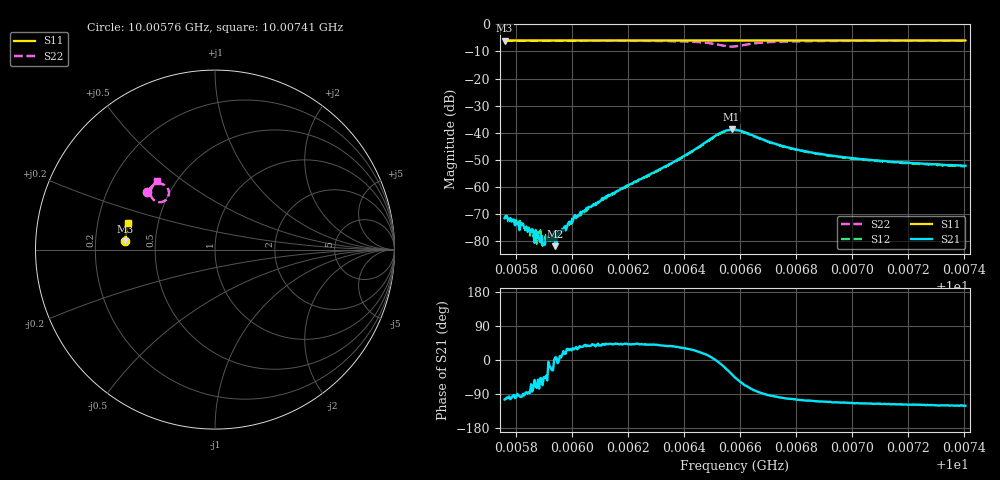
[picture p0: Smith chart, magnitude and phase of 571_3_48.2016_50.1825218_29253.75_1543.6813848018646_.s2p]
#  HZ  S  RI  R  50.00
! Rohde & Schwarz Vector Network Analyzer
! Rohde-Schwarz,ZNB20-2Port,1311601062101988,3.16
! Created: UTC 3/20/2024, 12:01:42 PM
! freq[Hz]  re:S11  im:S11  re:S21  im:S21  re:S12  im:S12  re:S22  im:S22
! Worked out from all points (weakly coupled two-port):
!   401 points, 10.00576 GHz to 10.00741 GHz, reference 50 ohm
!   highest |S21| = -38.73 dB at 10.00657 GHz (marker M1); lowest = -81.7 dB at 10.00594 GHz (marker M2)
!   lowest |S11| = -6.0 dB at 10.00576 GHz (marker M3), VSWR 3.01, Z = 16.6 + j2.03 ohm
!   |S11| at or under -10 dB: nowhere
!   |S22| runs from -8.2 to -6.0 dB; largest |S21 - S12| = 0.00087
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1.000576e10  -0.4997 0.0456  -6.57e-05 -0.00026  7.08e-06 -0.000277  -0.3795 0.3215
1.0005814e10  -0.4994 0.0492  -1.59e-05 -0.00016  2.19e-05 -0.000239  -0.3771 0.3248
1.0005843e10  -0.4994 0.051  1.78e-06 -0.000153  -1.18e-06 -0.00015  -0.3755 0.3266
1.0005871e10  -0.4994 0.053  5.73e-05 -0.000152  3.98e-05 -0.000147  -0.374 0.3285
1.000588e10  -0.4992 0.0534  8.18e-05 -0.000105  6.22e-05 -0.000136  -0.3735 0.329
1.0005892e10  -0.4993 0.0542  8.53e-05 -9.7e-05  4.11e-05 -8.38e-05  -0.3728 0.3297
1.00059e10  -0.499 0.0547  6.06e-05 -6.1e-05  7.66e-05 -6.67e-05  -0.3723 0.3303
1.0005921e10  -0.4991 0.056  0.000102 -2.77e-05  7.99e-05 -6.06e-05  -0.3713 0.3315
1.0005941e10  -0.4988 0.0575  8.13e-05 1.01e-05  0.00011 1.29e-05  -0.3702 0.3329
1.000595e10  -0.499 0.0582  0.00012 -1.78e-05  0.000141 2.31e-05  -0.3696 0.3335
1.0006011e10  -0.4985 0.062  0.000264 0.000155  0.000227 0.000141  -0.3659 0.3375
1.0006036e10  -0.4983 0.0636  0.000271 0.00019  0.000274 0.000191  -0.3644 0.3392
1.0006164e10  -0.4975 0.0719  0.000618 0.000575  0.000592 0.000612  -0.3548 0.3482
1.0006312e10  -0.4963 0.0815  0.00164 0.00132  0.00155 0.00137  -0.3375 0.3602
1.0006476e10  -0.4943 0.0923  0.00636 0.0018  0.00615 0.00203  -0.2848 0.3614
1.0006534e10  -0.4932 0.0957  0.00996 -0.00199  0.0098 -0.00144  -0.2569 0.321
1.0006571e10  -0.4927 0.0975  0.00924 -0.00697  0.0094 -0.00625  -0.2729 0.278
1.0006583e10  -0.4926 0.0981  0.00793 -0.00829  0.00831 -0.00751  -0.2864 0.269
1.0006674e10  -0.4925 0.1038  0.000511 -0.00787  0.000859 -0.00768  -0.3536 0.2926
1.0006859e10  -0.4906 0.1158  -0.00133 -0.00412  -0.00115 -0.00413  -0.3541 0.3408
1.0007135e10  -0.4866 0.1333  -0.00129 -0.00267  -0.00116 -0.00267  -0.3378 0.3667
1.0007406e10  -0.4822 0.1503  -0.00127 -0.00214  -0.00115 -0.00213  -0.3228 0.3832
